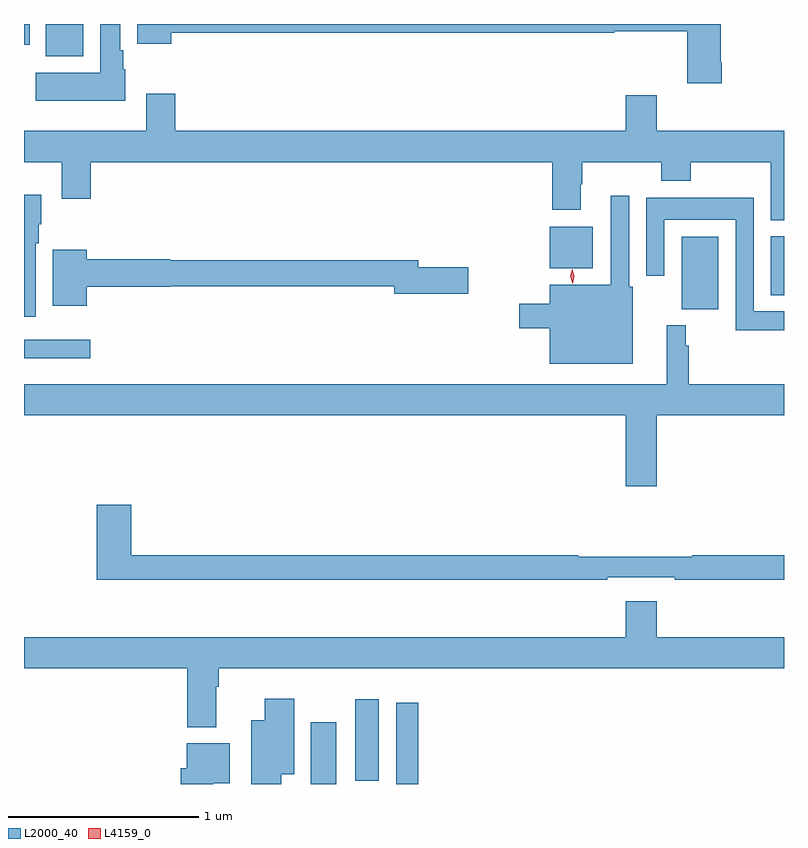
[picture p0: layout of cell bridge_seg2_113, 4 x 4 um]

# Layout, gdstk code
import gdstk
lib = gdstk.Library(unit=1e-6, precision=1e-09)
def R(c, l, rs):  # rectangles x0, y0, x1, y1
    for r in rs: c.add(gdstk.rectangle(r[:2], r[2:], *l))
def P(c, l, *ps):  # polygons
    for p in ps: c.add(gdstk.Polygon(p, *l))
L2000_40 = (2000, 40)
L4159_0 = (4159, 0)

bridge_seg2_113 = lib.new_cell('bridge_seg2_113')
R(bridge_seg2_113, L2000_40, [(487.028,605.735,487.162,606.061), (487.476,605.735,487.592,606.163), (487.262,605.751,487.384,606.181), (485.518,607.976,485.866,608.073), (488.981,608.234,489.172,608.614), (489.449,608.308,489.518,608.617), (488.285,608.45,488.512,608.668), (485.633,609.566,485.829,609.735), (485.518,609.625,485.548,609.735)])
P(bridge_seg2_113, L2000_40, [(489.191,609.535),(489.186,609.535),(489.186,609.735),(486.113,609.735),(486.113,609.632),(486.292,609.632),(486.292,609.688),(488.624,609.688),(488.624,609.696),(489.008,609.696),(489.008,609.423),(489.191,609.423)],
  [(486.052,609.498),(486.04,609.498),(486.04,609.598),(486.025,609.598),(486.025,609.735),(485.918,609.735),(485.918,609.478),(485.579,609.478),(485.579,609.332),(486.052,609.332)],
  [(488.848,609.361),(488.684,609.361),(488.684,609.172),(486.314,609.172),(486.314,609.367),(486.161,609.367),(486.161,609.172),(485.518,609.172),(485.518,609.008),(485.717,609.008),(485.717,608.814),(485.87,608.814),(485.87,609.008),(488.297,609.008),(488.297,608.757),(488.449,608.757),(488.449,608.891),(488.457,608.891),(488.457,609.008),(488.872,609.008),(488.872,608.909),(489.027,608.909),(489.027,609.008),(489.449,609.008),(489.449,608.702),(489.518,608.702),(489.518,609.172),(488.848,609.172)],
  [(485.581,608.582),(485.596,608.582),(485.596,608.682),(485.608,608.682),(485.608,608.836),(485.518,608.836),(485.518,608.193),(485.581,608.193)],
  [(488.722,608.353),(488.703,608.353),(488.703,608.83),(488.607,608.83),(488.607,608.362),(488.285,608.362),(488.285,608.263),(488.124,608.263),(488.124,608.134),(488.285,608.134),(488.285,607.946),(488.722,607.946)],
  [(489.518,608.223),(489.36,608.223),(489.36,608.821),(488.793,608.821),(488.793,608.409),(488.889,608.409),(488.889,608.705),(489.264,608.705),(489.264,608.122),(489.518,608.122)],
  [(485.848,608.351),(486.288,608.351),(486.288,608.356),(487.466,608.356),(487.466,608.314),(487.855,608.314),(487.855,608.456),(487.594,608.456),(487.594,608.492),(486.288,608.492),(486.288,608.498),(485.848,608.498),(485.848,608.548),(485.669,608.548),(485.669,608.252),(485.848,608.252)],
  [(489.518,607.84),(489.017,607.84),(489.017,608.042),(489.002,608.042),(489.002,608.149),(488.9,608.149),(488.9,607.84),(485.518,607.84),(485.518,607.676),(488.684,607.676),(488.684,607.302),(488.848,607.302),(488.848,607.676),(489.518,607.676)],
  [(488.588,606.822),(488.944,606.822),(488.944,606.81),(489.518,606.81),(489.518,606.938),(489.034,606.938),(489.034,606.931),(488.434,606.931),(488.434,606.938),(486.083,606.938),(486.083,607.204),(485.9,607.204),(485.9,606.81),(488.588,606.81)],
  [(486.529,606.248),(486.542,606.248),(486.542,606.344),(489.518,606.344),(489.518,606.508),(488.848,606.508),(488.848,606.697),(488.684,606.697),(488.684,606.508),(485.518,606.508),(485.518,606.344),(486.377,606.344),(486.377,606.035),(486.529,606.035)],
  [(486.871,605.786),(486.94,605.786),(486.94,606.184),(486.785,606.184),(486.785,606.07),(486.713,606.07),(486.713,605.735),(486.871,605.735)],
  [(486.514,605.738),(486.601,605.738),(486.601,605.95),(486.374,605.95),(486.374,605.817),(486.344,605.817),(486.344,605.735),(486.514,605.735)])
P(bridge_seg2_113, L4159_0, [(488.405,608.369),(488.405,608.369),(488.394,608.407),(488.403,608.445),(488.403,608.445),(488.404,608.445),(488.414,608.407),(488.406,608.369)])

lib.write_gds('bridge_seg2_113.gds')
